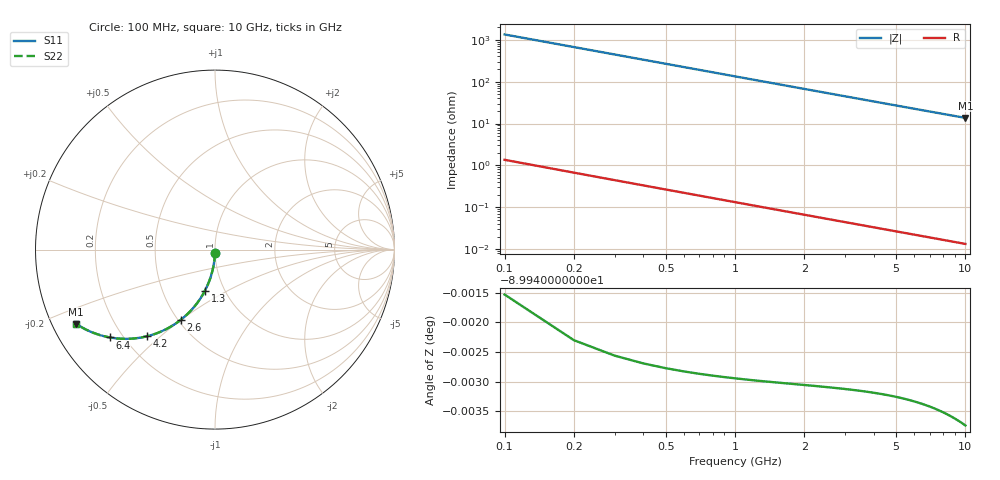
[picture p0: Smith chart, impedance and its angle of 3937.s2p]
# Hz S RI R 50.00
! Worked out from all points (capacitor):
!   100 points, 100 MHz to 10 GHz, reference 50 ohm
!   read as one part in shunt: C = 1.19 pF near 100 MHz
!   lowest |Z| = 13.6 ohm at 10 GHz (marker M1)
!   S11 on the Smith chart (normalised r, x): 100 MHz: 1.00, -0.04; 1.3 GHz: 0.81, -0.39; 2.6 GHz: 0.52, -0.50; 4.2 GHz: 0.29, -0.45; 6.4 GHz: 0.15, -0.36; 10 GHz: 0.07, -0.25
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1e8  -0.000363 -0.0187  0.9996 -0.0188  0.9996 -0.0188  -0.000363 -0.0187
2e8  -0.00143 -0.0374  0.9986 -0.0375  0.9986 -0.0375  -0.00143 -0.0374
3e8  -0.0032 -0.0559  0.9968 -0.0562  0.9968 -0.0562  -0.0032 -0.0559
4e8  -0.00566 -0.0744  0.9943 -0.0747  0.9943 -0.0747  -0.00566 -0.0744
5e8  -0.00879 -0.0927  0.9912 -0.0931  0.9912 -0.0931  -0.00879 -0.0927
6e8  -0.0126 -0.1108  0.9874 -0.1112  0.9874 -0.1112  -0.0126 -0.1108
7e8  -0.017 -0.1286  0.983 -0.1292  0.983 -0.1292  -0.017 -0.1286
8e8  -0.0221 -0.1462  0.9779 -0.1469  0.9779 -0.1469  -0.0221 -0.1462
1e9  -0.034 -0.1805  0.9659 -0.1813  0.9659 -0.1813  -0.034 -0.1805
1.3e9  -0.0561 -0.2291  0.9439 -0.2301  0.9439 -0.2301  -0.0561 -0.2291
1.5e9  -0.0732 -0.2594  0.9268 -0.2606  0.9268 -0.2606  -0.0732 -0.2594
1.8e9  -0.102 -0.3014  0.898 -0.3029  0.898 -0.3029  -0.102 -0.3014
2.2e9  -0.1448 -0.3505  0.8552 -0.3523  0.8552 -0.3523  -0.1448 -0.3505
2.6e9  -0.1909 -0.3915  0.8091 -0.3936  0.8091 -0.3936  -0.1909 -0.3915
3.4e9  -0.2867 -0.4503  0.7133 -0.4531  0.7133 -0.4531  -0.2867 -0.4503
4.2e9  -0.3794 -0.483  0.6206 -0.4865  0.6206 -0.4865  -0.3794 -0.483
5.1e9  -0.4733 -0.4967  0.5267 -0.5009  0.5267 -0.5009  -0.4733 -0.4967
6.4e9  -0.585 -0.4895  0.415 -0.4949  0.415 -0.4949  -0.585 -0.4895
6.7e9  -0.6068 -0.4851  0.3931 -0.4908  0.3931 -0.4908  -0.6068 -0.4851
7.5e9  -0.6588 -0.4705  0.3412 -0.4768  0.3412 -0.4768  -0.6588 -0.4705
8.4e9  -0.7074 -0.4509  0.2926 -0.458  0.2926 -0.458  -0.7074 -0.4509
1e10  -0.7737 -0.4137  0.2263 -0.4222  0.2263 -0.4222  -0.7737 -0.4137
